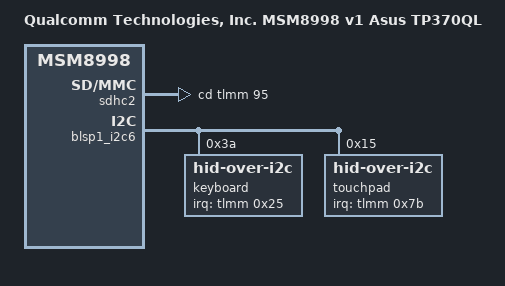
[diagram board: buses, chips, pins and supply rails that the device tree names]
// SPDX-License-Identifier: GPL-2.0
/* Copyright (c) 2019, The Linux Foundation. All rights reserved. */

/dts-v1/;

#include "laptop-common.dtsi"

/ {
	model = "Qualcomm Technologies, Inc. MSM8998 v1 Asus TP370QL";
	compatible = "qcom,msm8998-asus-tp370ql";

	qcom,board-id = <8 0>;
};

&tlmm {
	touchpad: touchpad {
		config {
			pins = "gpio123";
			bias-pull-up;           /* pull up */
		};
	};
};

&sdhc2 {
	cd-gpios = <&tlmm 95 GPIO_ACTIVE_HIGH>;
};

&blsp1_i2c6 {
	status = "okay";

	keyboard@3a {
		compatible = "hid-over-i2c";
		interrupt-parent = <&tlmm>;
		interrupts = <0x25 IRQ_TYPE_LEVEL_LOW>;
		reg = <0x3a>;
		hid-descr-addr = <0x0001>;
	};

	touchpad@15 {
		compatible = "hid-over-i2c";
		interrupt-parent = <&tlmm>;
		interrupts = <0x7b IRQ_TYPE_LEVEL_LOW>;
		reg = <0x15>;
		hid-descr-addr = <0x0001>;

		pinctrl-names = "default";
		pinctrl-0 = <&touchpad>;
	};
};
